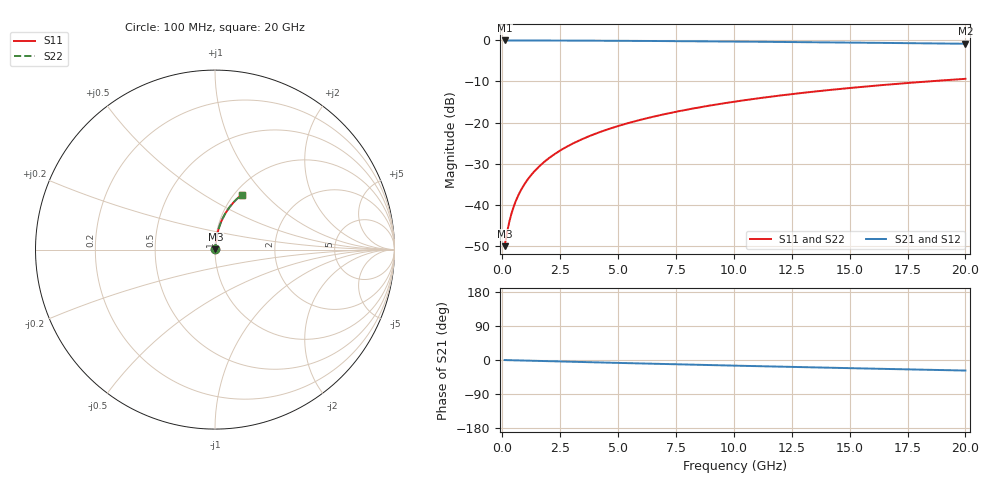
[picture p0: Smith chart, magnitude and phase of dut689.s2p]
! Touchstone file exported from HFSS 2024.1.0
!  File:  C:/UserFiles/LocalFiles/RDL_TSV_Batchsim/temp_RDL_bottom_689_1779786962.aedt
!  Generated:  05:18:20 PM May 26, 2026
!  Design:  RDL_bottom
!  Project:  temp_RDL_bottom_689_1779786962
!  Setup:  Setup1
!  Solution:  Sweep
! Variables:
!  dtsv = 10.80580581um
!  hbump = 3um
!  htsv = 98.1um
!  ldown = 340.53um
!  lrdl = 100um
!  p = 40
!  p1 = 45um
!  rhole = 1um
!  t = 450um
!  tdown = 4.58um
!  trdl = 3.915915916um
!  wdown = 10.78um
!  wrdl = 20um
# GHz S MA R 50.000000
! Terminal data exported
! Port[1] = RDL1_T1
! Port[2] = RDL1_T2
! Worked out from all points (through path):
!   200 points, 100 MHz to 20 GHz, reference 50 ohm
!   highest |S21| = -0.02 dB at 100 MHz (marker M1); lowest = -0.8 dB at 20 GHz (marker M2)
!   group delay of S21, straight-line fit = 3.86 ps
!   lowest |S11| = -50.1 dB at 100 MHz (marker M3), VSWR 1.01, Z = 50.3 + j0.189 ohm
!   |S11| at or under -10 dB: start of sweep to 18.36 GHz
!   |S22| runs from -50.1 to -9.4 dB; largest |S21 - S12| = 3.4e-15
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0.1  0.003143 36.8  0.9975 -0.2  0.9975 -0.2  0.003143 36.8
! Gamma 0 0 0 0
! Port Impedance 50 0 50 0
0.2  0.004541 55.6  0.9974 -0.3  0.9974 -0.3  0.004541 55.6
0.3  0.006177 64.8  0.9974 -0.5  0.9974 -0.5  0.006177 64.8
0.4  0.007894 70.1  0.9973 -0.6  0.9973 -0.6  0.007894 70.1
0.5  0.009645 73.4  0.9972 -0.8  0.9972 -0.8  0.009645 73.4
0.6  0.01141 75.7  0.9972 -0.9  0.9972 -0.9  0.01141 75.7
0.8  0.01499 78.5  0.997 -1.3  0.997 -1.3  0.01499 78.5
1.1  0.02039 80.8  0.9967 -1.7  0.9967 -1.7  0.02039 80.8
1.5  0.02763 82.3  0.9963 -2.3  0.9963 -2.3  0.02763 82.3
1.8  0.03307 82.8  0.9959 -2.8  0.9959 -2.8  0.03307 82.8
2.1  0.03851 83.0  0.9954 -3.3  0.9954 -3.3  0.03851 83.0
2.7  0.04938 83.1  0.9943 -4.2  0.9943 -4.2  0.04938 83.1
3.5  0.06384 82.8  0.9925 -5.4  0.9925 -5.4  0.06384 82.8
4.2  0.07645 82.3  0.9906 -6.5  0.9906 -6.5  0.07645 82.3
5  0.09082 81.6  0.988 -7.7  0.988 -7.7  0.09082 81.6
5.9  0.1069 80.7  0.9849 -9.0  0.9849 -9.0  0.1069 80.7
6.8  0.1229 79.8  0.9814 -10.3  0.9814 -10.3  0.1229 79.8
8.3  0.1495 78.1  0.975 -12.5  0.975 -12.5  0.1495 78.1
10.1  0.1809 76.0  0.9665 -15.0  0.9665 -15.0  0.181 76.0
13.4  0.2371 72.0  0.9492 -19.4  0.9492 -19.4  0.2371 72.0
16.7  0.2905 67.9  0.93 -23.7  0.93 -23.7  0.2906 67.9
20  0.3406 63.9  0.9095 -27.8  0.9095 -27.8  0.3406 63.9
